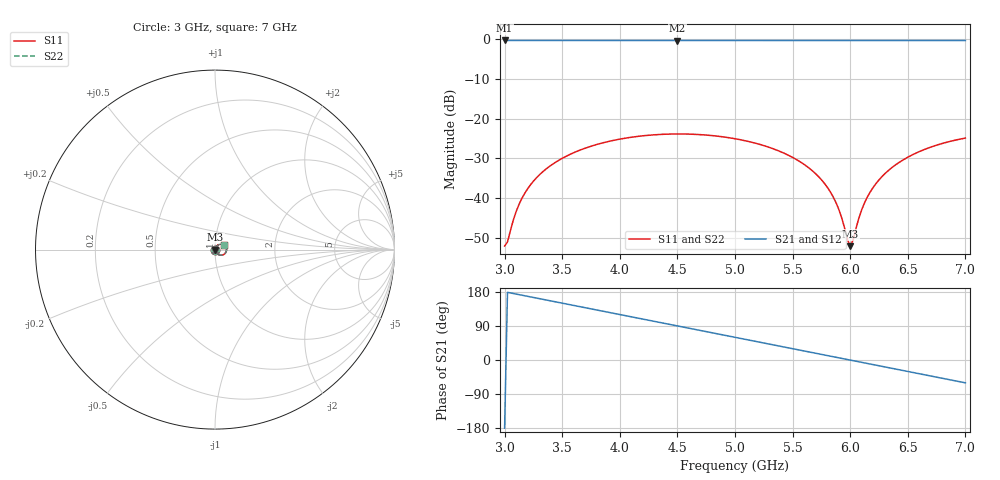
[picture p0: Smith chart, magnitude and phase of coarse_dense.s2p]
! yapnr rf: line-osh-m-w0p40-l30-m-nom, footprint re-simulated (optimization grid)
! spec sha256 d65bbbedd31d98c95967689ff5c38d7c570dd369000dbdf92ff01945cfde60dd
! 2 ports renormalized to 50 ohm, e^(+jwt) convention
# GHz S RI R 50
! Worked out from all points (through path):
!   161 points, 3 GHz to 7 GHz, reference 50 ohm
!   highest |S21| = -0.39 dB at 3 GHz (marker M1); lowest = -0.4 dB at 4.5 GHz (marker M2)
!   group delay of S21, straight-line fit = 167 ps
!   lowest |S11| = -52.0 dB at 6 GHz (marker M3), VSWR 1.01, Z = 50.3 - j0.0101 ohm
!   |S11| at or under -10 dB: start of sweep to end of sweep
!   |S22| runs from -52.0 to -23.9 dB; largest |S21 - S12| = 0
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3  0.00249 -0.000348  -0.9557 -0.00068  -0.9557 -0.00068  0.00249 -0.000348
3.025  0.00254 0.00125  -0.9554 0.0244  -0.9554 0.0244  0.00254 0.00125
3.075  0.00288 0.00444  -0.9528 0.0745  -0.9528 0.0745  0.00288 0.00444
3.125  0.00356 0.00758  -0.9476 0.1243  -0.9476 0.1243  0.00356 0.00758
3.225  0.00587 0.0136  -0.9293 0.2228  -0.9293 0.2228  0.00587 0.0136
3.425  0.0139 0.0235  -0.8622 0.4114  -0.8622 0.4114  0.0139 0.0235
3.675  0.0285 0.0299  -0.7259 0.6204  -0.7259 0.6204  0.0285 0.0299
4.025  0.05 0.0253  -0.455 0.8387  -0.455 0.8387  0.05 0.0253
4.35  0.0626 0.00908  -0.1492 0.942  -0.1492 0.942  0.0626 0.00908
4.5  0.0641 -0.00041  -0.000198 0.9537  -0.000198 0.9537  0.0641 -0.00041
5  0.0489 -0.0271  0.4766 0.8266  0.4766 0.8266  0.0489 -0.0271
5.4  0.0239 -0.0298  0.7724 0.5615  0.7724 0.5615  0.0239 -0.0298
5.675  0.00939 -0.0198  0.9008 0.3184  0.9008 0.3184  0.00939 -0.0198
5.85  0.00399 -0.00978  0.944 0.1484  0.944 0.1484  0.00399 -0.00978
5.9  0.00316 -0.00662  0.9505 0.0986  0.9505 0.0986  0.00316 -0.00662
6  0.0025 -0.000101  0.9556 -0.00168  0.9556 -0.00168  0.0025 -0.000101
6.025  0.00256 0.00154  0.9552 -0.0268  0.9552 -0.0268  0.00256 0.00154
6.1  0.00322 0.00642  0.9501 -0.1019  0.9501 -0.1019  0.00322 0.00642
6.15  0.00409 0.0096  0.9434 -0.1517  0.9434 -0.1517  0.00409 0.0096
6.35  0.0107 0.0209  0.8908 -0.3452  0.8908 -0.3452  0.0107 0.0209
6.625  0.0261 0.0302  0.7552 -0.5843  0.7552 -0.5843  0.0261 0.0302
7  0.0501 0.027  0.473 -0.8285  0.473 -0.8285  0.0501 0.027
